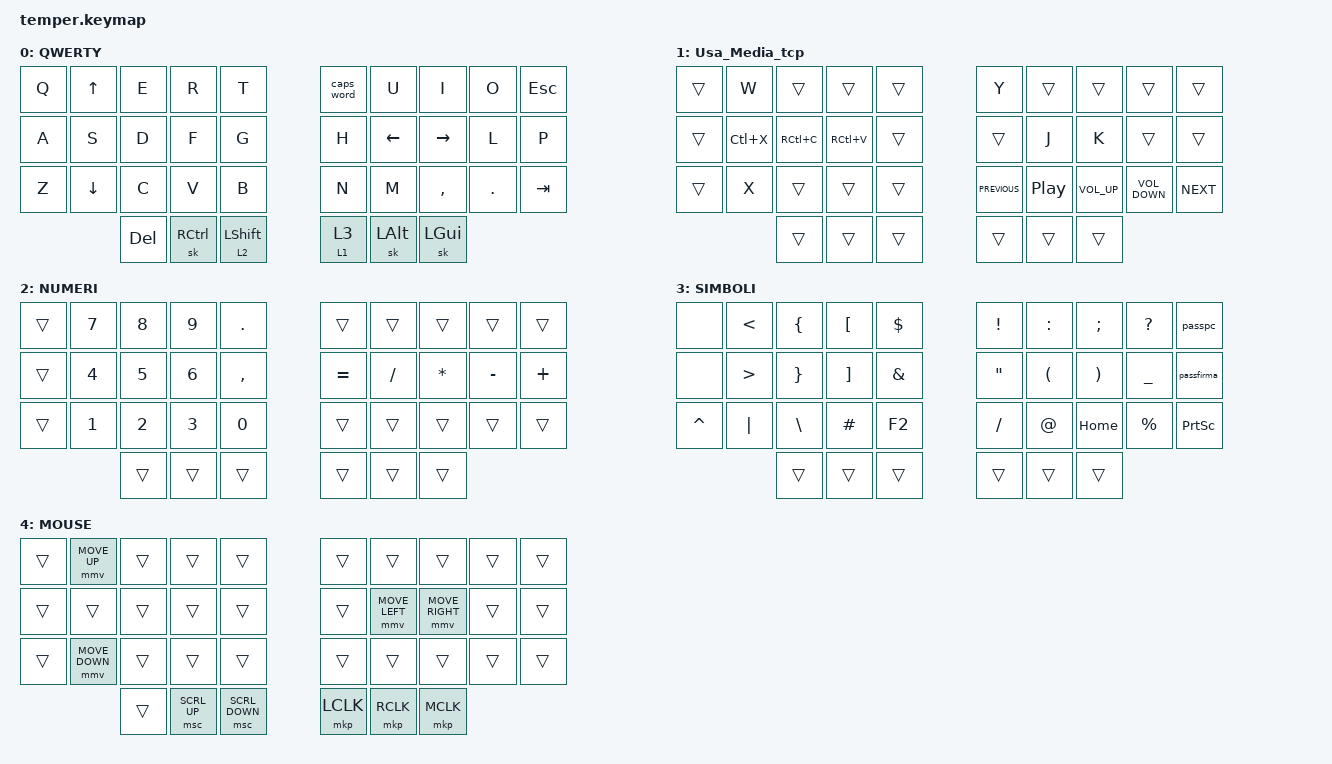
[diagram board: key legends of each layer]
/*
 * Copyright (c) 2021-2022 The ZMK Contributors
 * SPDX-License-Identifier: MIT
 */

#define ZMK_POINTING_DEFAULT_MOVE_VAL 1600
#define ZMK_POINTING_DEFAULT_SCRL_VAL 30
#define MOUSE_TIME_TO_MAX_SPEED 300

#include <dt-bindings/zmk/behaviors.h>
#include <behaviors/num_word.dtsi>
#include <input/processors.dtsi>
#include "keys_it.h"
#include <behaviors.dtsi>
#include <dt-bindings/zmk/keys.h>
#include <dt-bindings/zmk/pointing.h>

&num_word { continue-list = <LPAR RPAR EQUAL SLASH MINUS ASTRK PLUS PRCNT COMMA DOT>; };

&caps_word { continue-list = <SPACE>; };

&mt {
    tapping-term-ms = <150>;
    flavor = "tap-preferred";
};

/ {
    macros {
        passpc: passpc {
            compatible = "zmk,behavior-macro";
            #binding-cells = <0>;
            bindings = <&kp N0 &kp N3 &kp N1 &kp N1>;
        };

        passfirma: passfirma {
            compatible = "zmk,behavior-macro";
            #binding-cells = <0>;
            bindings = <&kp N7 &kp N3 &kp N0 &kp N0 &kp N2 &kp N0 &kp N9 &kp N9>;
        };
    };

    mau_word: mau_word {
        compatible = "zmk,behavior-auto-layer";
        #binding-cells = <1>;
        continue-list = <RCLK MCLK LCLK MOVE_LEFT MOVE_RIGHT MOVE_UP>;
        ignore-modifiers;
    };

    behaviors {
        schiftnum: schiftnum {
            compatible = "zmk,behavior-hold-tap";
            #binding-cells = <2>;
            display-name = "SCHIFTNUM";
            bindings = <&mo>, <&sk>;

            tapping-term-ms = <150>;
            flavor = "tap-preferred";
        };

        symb_usa: symb_usa {
            compatible = "zmk,behavior-hold-tap";
            label = "SYMB_USA";
            bindings = <&mo>, <&sl>;

            #binding-cells = <2>;
            tapping-term-ms = <200>;
            flavor = "tap-preferred";
        };
    };

    combos {
        compatible = "zmk,combos";

        bks {
            timeout-ms = <50>;
            key-positions = <16 17>;
            bindings = <&kp BSPC>;
            layers = <0>;
        };

        spc {
            timeout-ms = <60>;
            key-positions = <12 13>;
            bindings = <&kp SPACE>;
            layers = <0>;
        };

        ent {
            timeout-ms = <50>;
            key-positions = <22 23>;
            bindings = <&kp ENTER>;
            layers = <0>;
        };

        apo {
            bindings = <&kp APOS>;
            key-positions = <16 17 18>;
            layers = <0>;
        };

        num {
            bindings = <&num_word 2>;
            key-positions = <25 15>;
        };

        ent2 {
            bindings = <&kp ENTER>;
            key-positions = <27 26>;
            timeout-ms = <50>;
            layers = <0>;
        };

        mause {
            bindings = <&mau_word 4>;
            key-positions = <24 14>;
        };
    };

    keymap {
        compatible = "zmk,keymap";

        Base {
            display-name = "QWERTY";
            bindings = <
&kp Q  &kp UP    &kp E    &kp R      &kp T                    &caps_word     &kp U         &kp I         &kp O    &kp ESC
&kp A  &kp S     &kp D    &kp F      &kp G                    &kp H          &kp LEFT      &kp RIGHT     &kp L    &kp P
&kp Z  &kp DOWN  &kp C    &kp V      &kp B                    &kp N          &kp M         &kp COMMA     &kp DOT  &kp TAB
                 &kp DEL  &sk RCTRL  &schiftnum 2 LEFT_SHIFT  &symb_usa 1 3  &sk LEFT_ALT  &sk LEFT_GUI
            >;
        };

        Usa_Media_cp {
            display-name = "Usa_Media_tcp";
            bindings = <
&trans  &kp W      &trans     &trans     &trans  &kp Y           &trans            &trans           &trans             &trans
&trans  &kp LC(X)  &kp RC(C)  &kp RC(V)  &trans  &trans          &kp J             &kp K            &trans             &trans
&trans  &kp X      &trans     &trans     &trans  &kp C_PREVIOUS  &kp C_PLAY_PAUSE  &kp C_VOLUME_UP  &kp C_VOLUME_DOWN  &kp C_NEXT
                   &trans     &trans     &trans  &trans          &trans            &trans
            >;
        };

        NUMBER {
            display-name = "NUMERI";
            bindings = <
&trans  &kp NUMBER_7  &kp NUMBER_8  &kp NUMBER_9  &kp DOT    &trans     &trans     &trans     &trans     &trans
&trans  &kp NUMBER_4  &kp NUMBER_5  &kp NUMBER_6  &kp COMMA  &kp EQUAL  &kp SLASH  &kp ASTRK  &kp MINUS  &kp PLUS
&trans  &kp NUMBER_1  &kp NUMBER_2  &kp NUMBER_3  &kp N0     &trans     &trans     &trans     &trans     &trans
                      &trans        &trans        &trans     &trans     &trans     &trans
            >;
        };

        SIMBOLI {
            display-name = "SIMBOLI";
            bindings = <
&none      &kp LESS_THAN     &kp LEFT_BRACE   &kp LBKT           &kp DOLLAR  &kp EXCL   &kp COLON  &kp SEMI  &kp QUESTION  &passpc
&none      &kp GREATER_THAN  &kp RIGHT_BRACE  &kp RIGHT_BRACKET  &kp AMPS    &kp DQT    &kp LPAR   &kp RPAR  &kp UNDER     &passfirma
&kp CARET  &kp PIPE          &kp BSLH         &kp HASH           &kp F2      &kp SLASH  &kp AT     &kp HOME  &kp PERCENT   &kp PRINTSCREEN
                             &trans           &trans             &trans      &trans     &trans     &trans
            >;
        };

        MOUSE {
            display-name = "MOUSE";
            bindings = <
&trans  &mmv MOVE_UP    &trans  &trans        &trans          &trans     &trans          &trans           &trans  &trans
&trans  &trans          &trans  &trans        &trans          &trans     &mmv MOVE_LEFT  &mmv MOVE_RIGHT  &trans  &trans
&trans  &mmv MOVE_DOWN  &trans  &trans        &trans          &trans     &trans          &trans           &trans  &trans
                        &trans  &msc SCRL_UP  &msc SCRL_DOWN  &mkp LCLK  &mkp RCLK       &mkp MCLK
            >;
        };
    };
};
